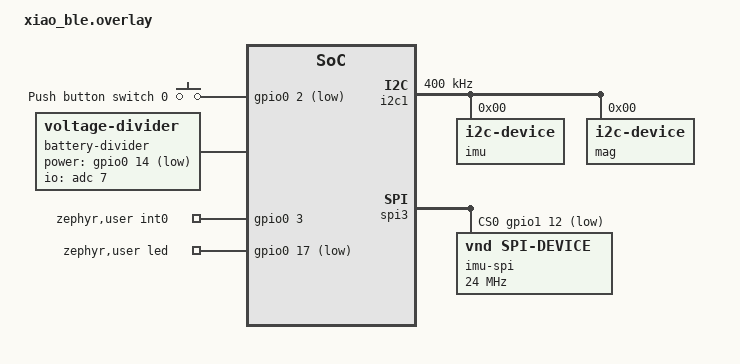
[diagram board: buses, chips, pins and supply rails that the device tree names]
&i2c1_default {
	group1 {
		bias-disable;
	};
};

&i2c1_sleep {
	group1 {
		bias-disable;
	};
};

&pwm0_default {
	group1 {
		psels = <NRF_PSEL(PWM_OUT0, 0, 26)>,
			<NRF_PSEL(PWM_OUT1, 0, 30)>,
			<NRF_PSEL(PWM_OUT2, 0, 6)>;
		nordic,drive-mode = <NRF_DRIVE_D0S1>;
		nordic,invert;
	};
};

&pwm0_sleep {
	group1 {
		psels = <NRF_PSEL(PWM_OUT0, 0, 26)>,
			<NRF_PSEL(PWM_OUT1, 0, 30)>,
			<NRF_PSEL(PWM_OUT2, 0, 6)>;
	};
};

/ {
	pwmleds {
		pwm_led0: pwm_led_0 {
			pwms = <&pwm0 0 PWM_MSEC(1) PWM_POLARITY_INVERTED>;
		};
		pwm_led1: pwm_led_1 {
			pwms = <&pwm0 1 PWM_MSEC(1) PWM_POLARITY_INVERTED>;
		};
		pwm_led2: pwm_led_2 {
			pwms = <&pwm0 2 PWM_MSEC(1) PWM_POLARITY_INVERTED>;
		};
	};

	buttons {
		compatible = "gpio-keys";
		button0: button_0 {
			gpios = <&gpio0 2 (GPIO_PULL_UP | GPIO_ACTIVE_LOW)>;
			label = "Push button switch 0";
		};
	};

	aliases {
		// sw0 = &button0; // Uncomment to Enable SW0
		pwm-led1 = &pwm_led1;
		pwm-led2 = &pwm_led2;
	};

	battery-divider {
        compatible = "voltage-divider";
        status = "okay";
        io-channels = <&adc 7>;
        output-ohms = <510000>;
        full-ohms = <(1000000+510000)>;
        power-gpios = <&gpio0 14 (GPIO_OPEN_DRAIN|GPIO_ACTIVE_LOW)>;
	};

	zephyr,user {
		int0-gpios = <&gpio0 3 0>;
		led-gpios = <&gpio0 17 (GPIO_OPEN_DRAIN|GPIO_ACTIVE_LOW)>;
		// clk-gpios = <&gpio0 28 GPIO_OPEN_DRAIN>; // Uncomment and set to correct pin if using an external clock (crystal oscillator)
	};

};

/delete-node/ &uart0;

&i2c1 {
	compatible = "nordic,nrf-twim";
	zephyr,concat-buf-size = <1023>;
	zephyr,flash-buf-max-size = <1023>;
	clock-frequency = <I2C_BITRATE_FAST>;

	imu: imu@0 { // any address out of range (00, 7f, etc. will search all addresses and stored address first if available, specify an address here to search first otherwise
		compatible = "i2c-device";
		label = "imu";
		reg = <0>;
	};

	mag: mag@0 {
		compatible = "i2c-device";
		label = "mag";
		reg = <0>;
	};

};

/delete-node/ &spi2;
/delete-node/ &qspi;

&spi3 {
	compatible = "nordic,nrf-spim";
	status = "okay";
	max-frequency = <DT_FREQ_M(24)>;
	pinctrl-0 = <&spi2_default>;
	pinctrl-1 = <&spi2_sleep>;
	pinctrl-names = "default", "sleep";
	cs-gpios = <&gpio1 12 GPIO_ACTIVE_LOW>;

	imu_spi: imu_spi@0 {
		compatible = "vnd,spi-device";
		spi-max-frequency = <DT_FREQ_M(24)>;
		label = "imu-spi";
		reg = <0>;
	};
};

&cryptocell {
	status = "disabled";
};

&nfct {
	status = "disabled";
};
